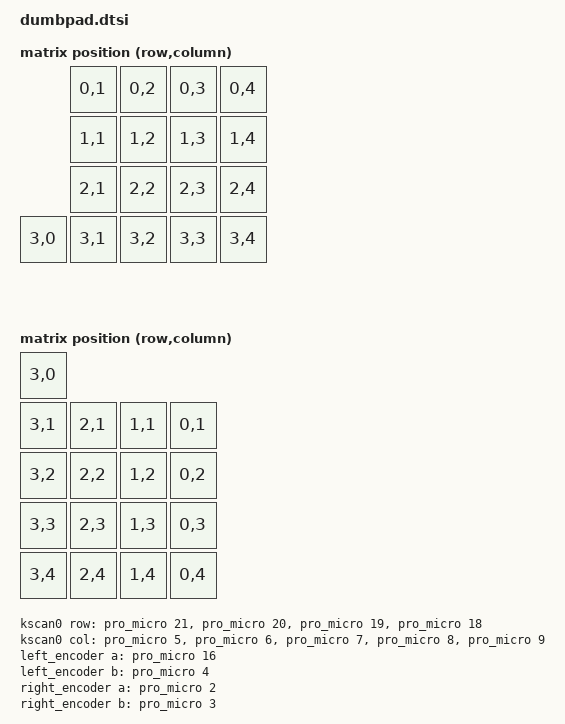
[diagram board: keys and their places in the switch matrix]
/*
 * Copyright (c) 2022 The ZMK Contributors
 *
 * SPDX-License-Identifier: MIT
 */

#include <dt-bindings/zmk/matrix_transform.h>

/ {
    chosen {
        zmk,kscan = &kscan0;
        zmk,matrix_transform = &default_transform;
    };

    kscan0: kscan {
		compatible = "zmk,kscan-gpio-matrix";
		label = "KSCAN";

		diode-direction = "col2row";

		row-gpios
			= <&pro_micro 21 (GPIO_ACTIVE_HIGH | GPIO_PULL_DOWN)>
			, <&pro_micro 20 (GPIO_ACTIVE_HIGH | GPIO_PULL_DOWN)>
			, <&pro_micro 19 (GPIO_ACTIVE_HIGH | GPIO_PULL_DOWN)>
			, <&pro_micro 18 (GPIO_ACTIVE_HIGH | GPIO_PULL_DOWN)>
			;

		col-gpios
			= <&pro_micro 5 (GPIO_ACTIVE_HIGH | GPIO_PULL_DOWN)>
			, <&pro_micro 6 (GPIO_ACTIVE_HIGH | GPIO_PULL_DOWN)>
			, <&pro_micro 7 (GPIO_ACTIVE_HIGH | GPIO_PULL_DOWN)>
			, <&pro_micro 8 (GPIO_ACTIVE_HIGH | GPIO_PULL_DOWN)>
			, <&pro_micro 9 (GPIO_ACTIVE_HIGH | GPIO_PULL_DOWN)>
			;

	};

	default_transform: keymap_transform_0 {
		compatible = "zmk,matrix-transform";
		columns = <5>;
		rows = <4>;

		map = <
					RC(0,1) RC(0,2) RC(0,3) RC(0,4)
					RC(1,1) RC(1,2) RC(1,3) RC(1,4)
					RC(2,1) RC(2,2) RC(2,3) RC(2,4)
			RC(3,0) RC(3,1) RC(3,2) RC(3,3) RC(3,4)
		>;
	};


	oled_top_transform: keymap_transform_1 {
		compatible = "zmk,matrix-transform";
		columns = <5>;
		rows = <4>;

		map = <
                    RC(3,0)
                    RC(3,1) RC(2,1) RC(1,1) RC(0,1)
                    RC(3,2) RC(2,2) RC(1,2) RC(0,2)
                    RC(3,3) RC(2,3) RC(1,3) RC(0,3)
                    RC(3,4) RC(2,4) RC(1,4) RC(0,4)
		>;
	};

	left_encoder: encoder_left {
		compatible = "alps,ec11";
		label = "LEFT_ENCODER";
		a-gpios = <&pro_micro 16 (GPIO_ACTIVE_HIGH | GPIO_PULL_UP)>;
		b-gpios = <&pro_micro 4  (GPIO_ACTIVE_HIGH | GPIO_PULL_UP)>;
		resolution = <4>;
	};

	right_encoder: encoder_right {
		compatible = "alps,ec11";
		label = "RIGHT_ENCODER";
		a-gpios = <&pro_micro 2 (GPIO_ACTIVE_HIGH | GPIO_PULL_UP)>;
		b-gpios = <&pro_micro 3 (GPIO_ACTIVE_HIGH | GPIO_PULL_UP)>;
		resolution = <4>;
	};

};

&pro_micro_i2c {
	status = "okay";

	oled: ssd1306@3c {
		compatible = "solomon,ssd1306fb";
		reg = <0x3c>;
		label = "DISPLAY";
		width = <128>;
		height = <32>;
		segment-offset = <0>;
		page-offset = <0>;
		display-offset = <0>;
		multiplex-ratio = <31>;
		segment-remap;
		com-invdir;
		com-sequential;
		prechargep = <0x22>;
	};
};
